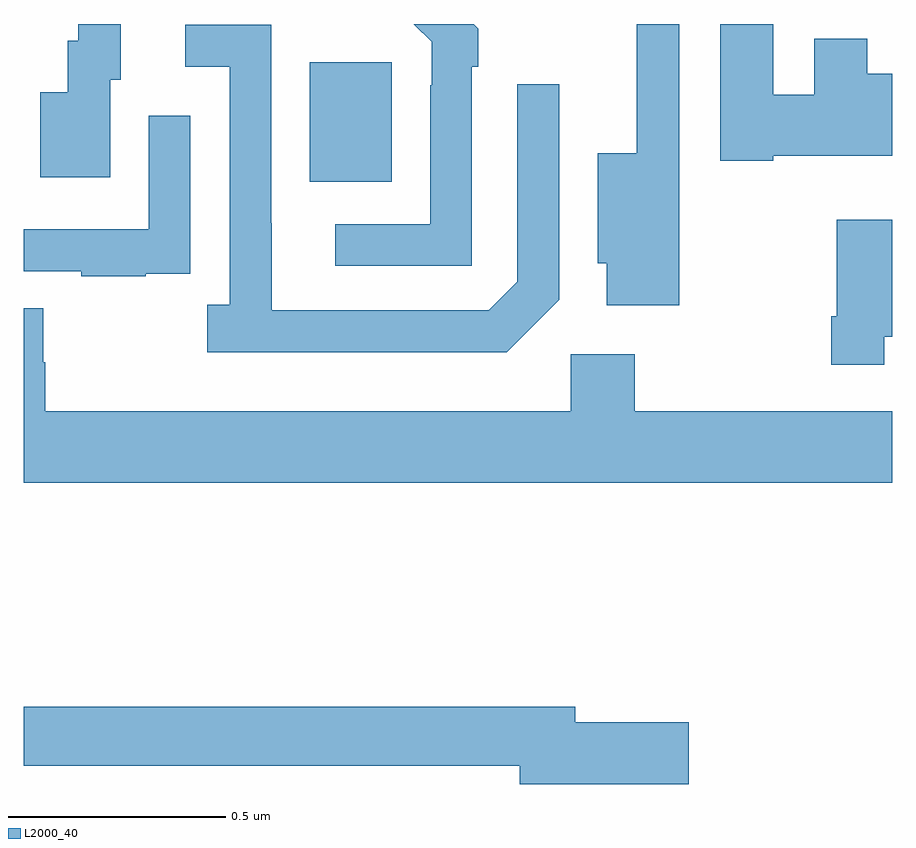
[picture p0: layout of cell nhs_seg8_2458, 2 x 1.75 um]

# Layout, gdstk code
import gdstk
lib = gdstk.Library(unit=1e-6, precision=1e-09)
def R(c, l, rs):  # rectangles x0, y0, x1, y1
    for r in rs: c.add(gdstk.rectangle(r[:2], r[2:], *l))
def P(c, l, *ps):  # polygons
    for p in ps: c.add(gdstk.Polygon(p, *l))
L2000_40 = (2000, 40)

nhs_seg8_2458 = lib.new_cell('nhs_seg8_2458')
R(nhs_seg8_2458, L2000_40, [(144.659,1106.537,144.847,1106.812)])
P(nhs_seg8_2458, L2000_40, [(144.199,1106.772),(144.223,1106.772),(144.223,1106.9),(144.126,1106.9),(144.126,1106.862),(144.101,1106.862),(144.101,1106.743),(144.038,1106.743),(144.038,1106.547),(144.199,1106.547)],
  [(145.032,1106.801),(145.047,1106.801),(145.047,1106.889),(145.036,1106.9),(144.898,1106.9),(144.939,1106.859),(144.939,1106.759),(144.936,1106.759),(144.936,1106.439),(144.717,1106.439),(144.717,1106.343),(145.032,1106.343)],
  [(145.51,1106.449),(145.509,1106.449),(145.509,1106.9),(145.412,1106.9),(145.412,1106.602),(145.322,1106.602),(145.322,1106.349),(145.343,1106.349),(145.343,1106.252),(145.51,1106.252)],
  [(145.726,1106.597),(146,1106.597),(146,1106.785),(145.942,1106.785),(145.942,1106.866),(145.82,1106.866),(145.82,1106.737),(145.726,1106.737),(145.726,1106.9),(145.604,1106.9),(145.604,1106.585),(145.726,1106.585)],
  [(145.233,1106.265),(145.233,1106.761),(145.137,1106.761),(145.137,1106.307),(145.071,1106.241),(144.571,1106.241),(144.571,1106.441),(144.57,1106.441),(144.57,1106.898),(144.372,1106.898),(144.372,1106.802),(144.474,1106.802),(144.474,1106.254),(144.423,1106.254),(144.423,1106.144),(145.112,1106.144)],
  [(144.281,1106.325),(144.383,1106.325),(144.383,1106.434),(144.384,1106.434),(144.384,1106.689),(144.288,1106.689),(144.288,1106.427),(144,1106.427),(144,1106.331),(144.133,1106.331),(144.133,1106.319),(144.281,1106.319)],
  [(145.981,1106.18),(146,1106.18),(146,1106.449),(145.872,1106.449),(145.872,1106.227),(145.86,1106.227),(145.86,1106.115),(145.981,1106.115)],
  [(146,1106.008),(145.407,1106.008),(145.407,1106.14),(145.26,1106.14),(145.26,1106.008),(144.05,1106.008),(144.05,1106.121),(144.045,1106.121),(144.045,1106.246),(144,1106.246),(144,1105.844),(146,1105.844)],
  [(145.531,1105.292),(145.27,1105.292),(145.27,1105.328),(144,1105.328),(144,1105.192),(145.142,1105.192),(145.142,1105.15),(145.531,1105.15)])

lib.write_gds('nhs_seg8_2458.gds')
